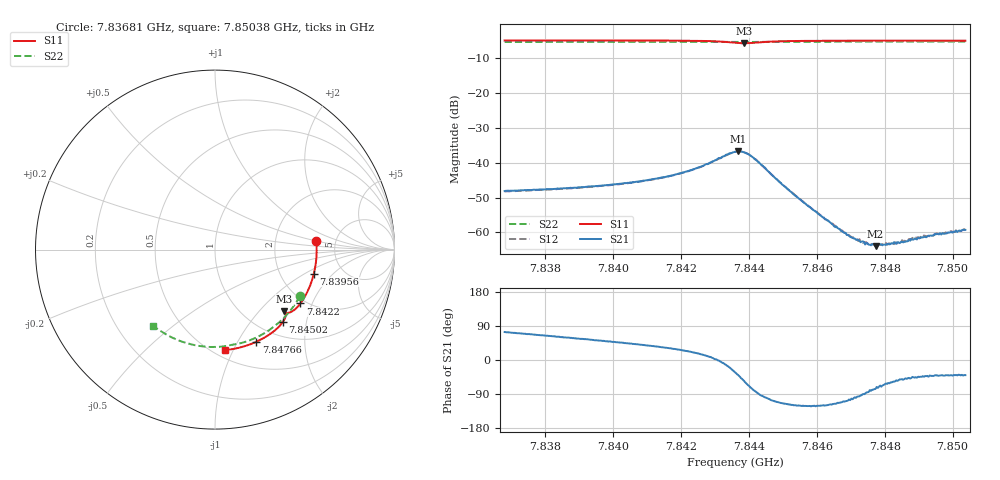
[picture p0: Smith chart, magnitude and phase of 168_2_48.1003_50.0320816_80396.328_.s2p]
#  HZ  S  RI  R  50.00
! Rohde & Schwarz Vector Network Analyzer
! Rohde-Schwarz,ZNB20-2Port,1311601062101988,3.16
! Created: UTC 12/23/2023, 3:51:28 AM
! freq[Hz]  re:S11  im:S11  re:S21  im:S21  re:S12  im:S12  re:S22  im:S22
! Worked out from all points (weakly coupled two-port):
!   401 points, 7.83681 GHz to 7.85038 GHz, reference 50 ohm
!   highest |S21| = -36.72 dB at 7.84369 GHz (marker M1); lowest = -64.0 dB at 7.84773 GHz (marker M2)
!   lowest |S11| = -5.7 dB at 7.84386 GHz (marker M3), VSWR 3.14, Z = 74 - j69.5 ohm
!   |S11| at or under -10 dB: nowhere
!   |S22| runs from -5.4 to -5.3 dB; largest |S21 - S12| = 0.00026
!   S11 on the Smith chart (normalised r, x): 7.83681 GHz: 3.53, +0.50; 7.83956 GHz: 3.09, -1.22; 7.8422 GHz: 1.87, -1.65; 7.84502 GHz: 1.26, -1.47; 7.84766 GHz: 0.80, -1.20; 7.85038 GHz: 0.57, -0.93
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7.836808e9  0.5639 0.0484  0.00109 0.00376  0.00109 0.0037  0.4735 -0.2583
7.839081e9  0.5575 -0.1024  0.00251 0.00368  0.00249 0.00363  0.3785 -0.3856
7.839556e9  0.5509 -0.1336  0.00288 0.00363  0.00284 0.00362  0.354 -0.4083
7.841354e9  0.5081 -0.2483  0.00492 0.00343  0.00488 0.00342  0.2504 -0.4796
7.842202e9  0.476 -0.2999  0.00696 0.00296  0.00688 0.00298  0.1962 -0.5044
7.842609e9  0.4561 -0.3232  0.00856 0.00227  0.0085 0.00231  0.169 -0.5139
7.843084e9  0.4263 -0.346  0.0114 -0.000145  0.0112 1.8e-05  0.1368 -0.5227
7.843593e9  0.3911 -0.3503  0.0121 -0.0076  0.0122 -0.00746  0.1029 -0.5292
7.843695e9  0.3873 -0.3478  0.0111 -0.00944  0.011 -0.00938  0.0963 -0.5302
7.843864e9  0.3864 -0.3439  0.00787 -0.0117  0.00793 -0.0116  0.0856 -0.5321
7.844034e9  0.3898 -0.3447  0.00424 -0.0121  0.00428 -0.0121  0.0749 -0.5344
7.844203e9  0.3937 -0.3515  0.00125 -0.011  0.00129 -0.0111  0.0637 -0.5365
7.845018e9  0.3769 -0.4046  -0.002 -0.00429  -0.002 -0.00433  0.00696 -0.5427
7.845866e9  0.3349 -0.4488  -0.00112 -0.00184  -0.00113 -0.00185  -0.0528 -0.5409
7.846951e9  0.2736 -0.4913  -0.00022 -0.000862  -0.00025 -0.000878  -0.1282 -0.5291
7.847291e9  0.2535 -0.5024  -5e-05 -0.000722  -4.13e-05 -0.000741  -0.1512 -0.523
7.847664e9  0.2307 -0.5134  0.00014 -0.000662  0.000141 -0.000656  -0.1763 -0.5154
7.847732e9  0.2266 -0.5153  0.000153 -0.000616  0.000155 -0.000627  -0.1809 -0.5139
7.848139e9  0.2013 -0.5258  0.000321 -0.000591  0.000346 -0.000605  -0.2076 -0.5039
7.848614e9  0.1714 -0.5362  0.000486 -0.00055  0.000485 -0.000606  -0.2382 -0.4904
7.849563e9  0.1101 -0.5519  0.000716 -0.000627  0.000725 -0.000616  -0.2964 -0.4582
7.850378e9  0.0566 -0.5595  0.000833 -0.000698  0.00082 -0.000689  -0.3429 -0.4253
